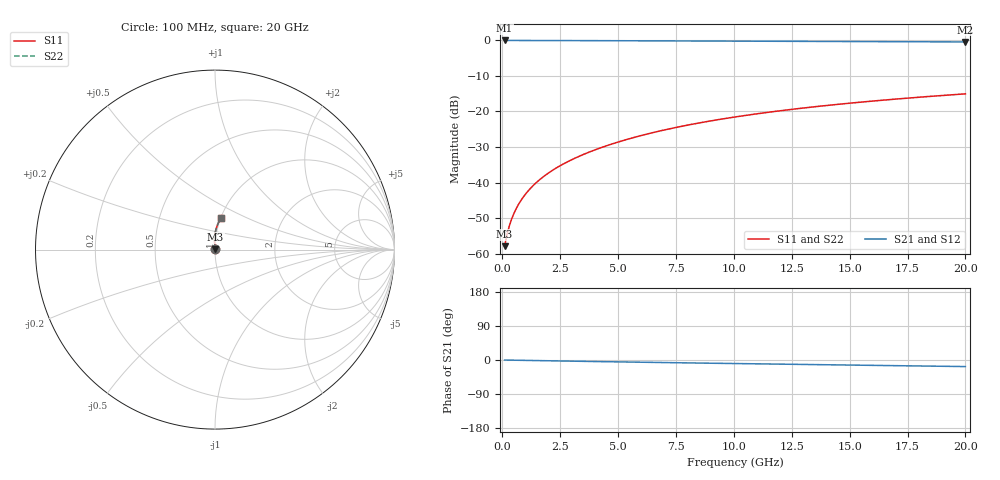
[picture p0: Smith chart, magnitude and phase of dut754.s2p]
! Touchstone file exported from HFSS 2024.1.0
!  File:  C:/UserFiles/LocalFiles/RDL_TSV_Batchsim/temp_RDL_top_754_1779851974.aedt
!  Generated:  11:21:57 AM May 27, 2026
!  Design:  RDL_top
!  Project:  temp_RDL_top_754_1779851974
!  Setup:  Setup1
!  Solution:  Sweep
! Variables:
!  dtsv = 10.80580581um
!  hbump = 3um
!  htsv = 70.56um
!  ldown = 100um
!  lrdl = 215.43um
!  p = 40
!  p1 = 57.18um
!  rhole = 1um
!  t = 450um
!  tdown = 3.915915916um
!  trdl = 3.41um
!  wdown = 15.38538539um
!  wrdl = 29.58um
# GHz S MA R 50.000000
! Terminal data exported
! Port[1] = Box2_T1
! Port[2] = Box2_T2
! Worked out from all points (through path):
!   200 points, 100 MHz to 20 GHz, reference 50 ohm
!   highest |S21| = -0.01 dB at 100 MHz (marker M1); lowest = -0.4 dB at 20 GHz (marker M2)
!   group delay of S21, straight-line fit = 2.37 ps
!   lowest |S11| = -57.9 dB at 100 MHz (marker M3), VSWR 1.00, Z = 50.1 + j0.076 ohm
!   |S11| at or under -10 dB: start of sweep to end of sweep
!   |S22| runs from -57.9 to -15.0 dB; largest |S21 - S12| = 8.4e-15
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0.1  0.001273 36.6  0.999 -0.1  0.999 -0.1  0.001273 36.6
! Gamma 0 0 0 0
! Port Impedance 50 0 50 0
0.2  0.001828 53.8  0.9989 -0.2  0.9989 -0.2  0.001828 53.8
0.3  0.002433 62.4  0.9988 -0.3  0.9988 -0.3  0.002433 62.4
0.4  0.003046 67.7  0.9987 -0.4  0.9987 -0.4  0.003046 67.7
0.5  0.003665 71.4  0.9986 -0.5  0.9986 -0.5  0.003665 71.4
0.6  0.004291 74.3  0.9986 -0.6  0.9986 -0.6  0.004291 74.3
0.8  0.005565 78.3  0.9984 -0.8  0.9984 -0.8  0.005565 78.3
1.1  0.007522 82.2  0.9981 -1.2  0.9981 -1.2  0.007522 82.2
1.3  0.008854 84.0  0.9979 -1.4  0.9979 -1.4  0.008854 84.0
1.6  0.01089 86.1  0.9976 -1.7  0.9976 -1.7  0.01089 86.1
2.1  0.01438 88.5  0.9968 -2.2  0.9968 -2.2  0.01438 88.5
2.7  0.01873 90.4  0.9956 -2.8  0.9956 -2.8  0.01873 90.4
3.5  0.02483 92.1  0.9938 -3.6  0.9938 -3.6  0.02483 92.1
4.2  0.03045 92.9  0.9921 -4.2  0.9921 -4.2  0.03045 92.9
5  0.03716 93.3  0.9899 -5.0  0.9899 -5.0  0.03716 93.3
5.9  0.04502 93.4  0.9873 -5.8  0.9873 -5.8  0.04502 93.4
6.8  0.05315 93.1  0.9848 -6.6  0.9848 -6.6  0.05315 93.1
8.4  0.06804 92.0  0.9803 -8.0  0.9803 -8.0  0.06804 92.0
10.1  0.08421 90.4  0.9758 -9.4  0.9758 -9.4  0.08421 90.4
13.4  0.1157 86.9  0.9677 -12.1  0.9677 -12.1  0.1157 86.9
16.7  0.1468 83.4  0.9601 -14.7  0.9601 -14.7  0.1468 83.4
20  0.177 79.9  0.9525 -17.3  0.9525 -17.3  0.177 79.9
